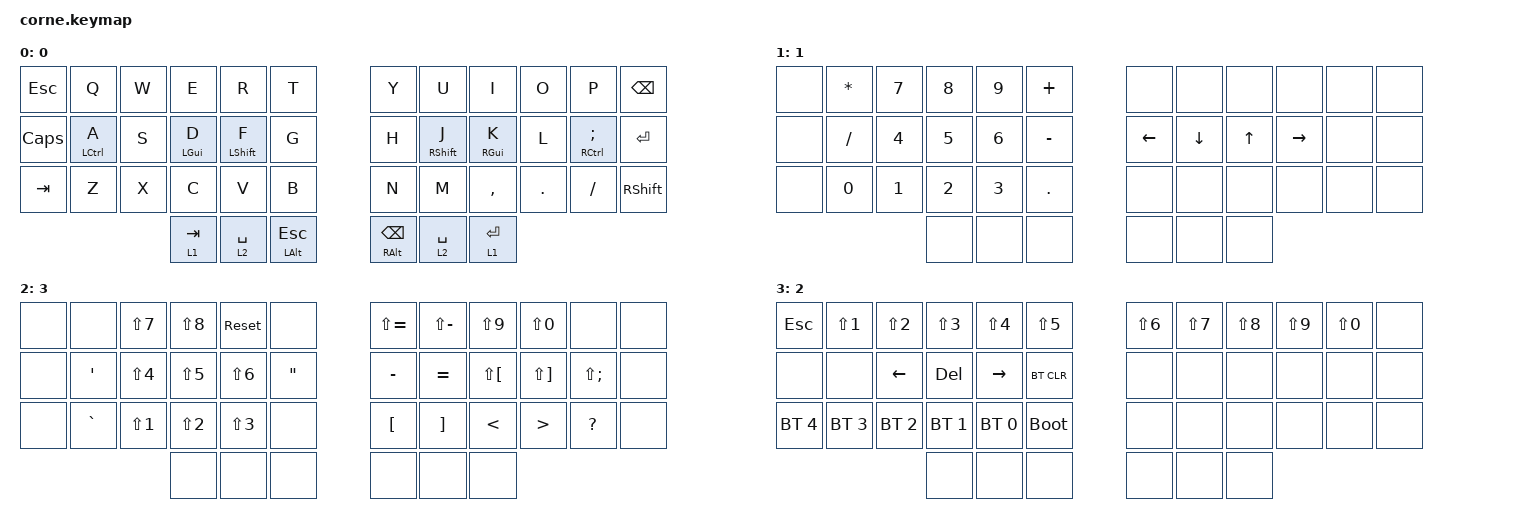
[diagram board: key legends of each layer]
/*
 * Copyright (c) 2020 The ZMK Contributors
 *
 * SPDX-License-Identifier: MIT
 */

#include <behaviors.dtsi>
#include <dt-bindings/zmk/bt.h>
#include <dt-bindings/zmk/keys.h>

#define DEFAULT_L 0
#define SYMBOLS_L 1
#define ARROWS_L  2
#define NUMBERS_L 3

/ {
    behaviors {
        hm: homerow_mods {
            compatible = "zmk,behavior-hold-tap";
            label = "HOMEROW_MODS";
            #binding-cells = <2>;
            tapping-term-ms = <800>;
            quick-tap-ms = <200>;
            flavor = "tap-preferred";
            bindings = <&kp>, <&kp>;
        };
    };

    combos {
        compatible = "zmk,combos";

        a {
            bindings = <&kp ESCAPE>;
            key-positions = <2 1>;
        };

        b {
            bindings = <&kp CLCK>;
            key-positions = <14 13>;
        };

        c {
            bindings = <&kp TAB>;
            key-positions = <26 25>;
        };

        d {
            bindings = <&kp BACKSPACE>;
            key-positions = <10 9>;
        };

        e {
            bindings = <&kp ENTER>;
            key-positions = <22 21>;
        };

        f {
            bindings = <&kp MINUS>;
            key-positions = <19 20>;
        };

        g {
            bindings = <&kp EQUAL>;
            key-positions = <21 20>;
        };

        h {
            bindings = <&sys_reset>;
            key-positions = <1 29>;
        };

        j {
            bindings = <&sys_reset>;
            key-positions = <30 10>;
        };
    };

    keymap {
        compatible = "zmk,keymap";

        default_layer {
            label = "0";
            bindings = <
&kp ESC       &kp Q               &kp W  &kp E           &kp R             &kp T               &kp Y                    &kp U              &kp I            &kp O    &kp P                   &kp BSPC
&kp CAPSLOCK  &mt LEFT_CONTROL A  &kp S  &mt LEFT_GUI D  &mt LEFT_SHIFT F  &kp G               &kp H                    &mt RIGHT_SHIFT J  &mt RIGHT_GUI K  &kp L    &mt RIGHT_CONTROL SEMI  &kp RET
&kp TAB       &kp Z               &kp X  &kp C           &kp V             &kp B               &kp N                    &kp M              &kp COMMA        &kp DOT  &kp FSLH                &kp RSHFT
                                         &lt 1 TAB       &lt 2 SPACE       &mt LEFT_ALT ESC    &mt RIGHT_ALT BACKSPACE  &lt 2 SPACE        &lt 1 RET
            >;
        };

        nav {
            label = "1";
            bindings = <
&none  &kp STAR   &kp N7  &kp N8  &kp N9  &kp PLUS     &none           &none           &none         &none            &none  &none
&none  &kp SLASH  &kp N4  &kp N5  &kp N6  &kp MINUS    &kp LEFT_ARROW  &kp DOWN_ARROW  &kp UP_ARROW  &kp RIGHT_ARROW  &none  &none
&none  &kp N0     &kp N1  &kp N2  &kp N3  &kp DOT      &none           &none           &none         &none            &none  &none
                          &none   &none   &none        &none           &none           &none
            >;
        };

        sym {
            label = "3";
            bindings = <
&none  &none             &kp LS(N7)  &kp LS(N8)  &sys_reset  &none                &kp LS(EQUAL)     &kp LS(MINUS)      &kp LS(N9)            &kp LS(N0)             &none         &none
&none  &kp SINGLE_QUOTE  &kp LS(N4)  &kp LS(N5)  &kp LS(N6)  &kp DOUBLE_QUOTES    &kp MINUS         &kp EQUAL          &kp LS(LEFT_BRACKET)  &kp LS(RIGHT_BRACKET)  &kp LS(SEMI)  &none
&none  &kp GRAVE         &kp LS(N1)  &kp LS(N2)  &kp LS(N3)  &none                &kp LEFT_BRACKET  &kp RIGHT_BRACKET  &kp LESS_THAN         &kp GREATER_THAN       &kp QUESTION  &none
                                     &none       &none       &none                &none             &none              &none
            >;
        };

        bt_layer {
            label = "2";
            bindings = <
&kp ESC       &kp LS(N1)    &kp LS(N2)      &kp LS(N3)    &kp LS(N4)    &kp LS(N5)     &kp LS(N6)  &kp LS(N7)  &kp LS(N8)  &kp LS(N9)  &kp LS(N0)  &none
&none         &none         &kp LEFT_ARROW  &kp DEL       &kp RIGHT     &bt BT_CLR     &none       &none       &none       &none       &none       &none
&bt BT_SEL 4  &bt BT_SEL 3  &bt BT_SEL 2    &bt BT_SEL 1  &bt BT_SEL 0  &bootloader    &none       &none       &none       &none       &none       &none
                                            &none         &none         &none          &none       &none       &none
            >;
        };
    };
};
